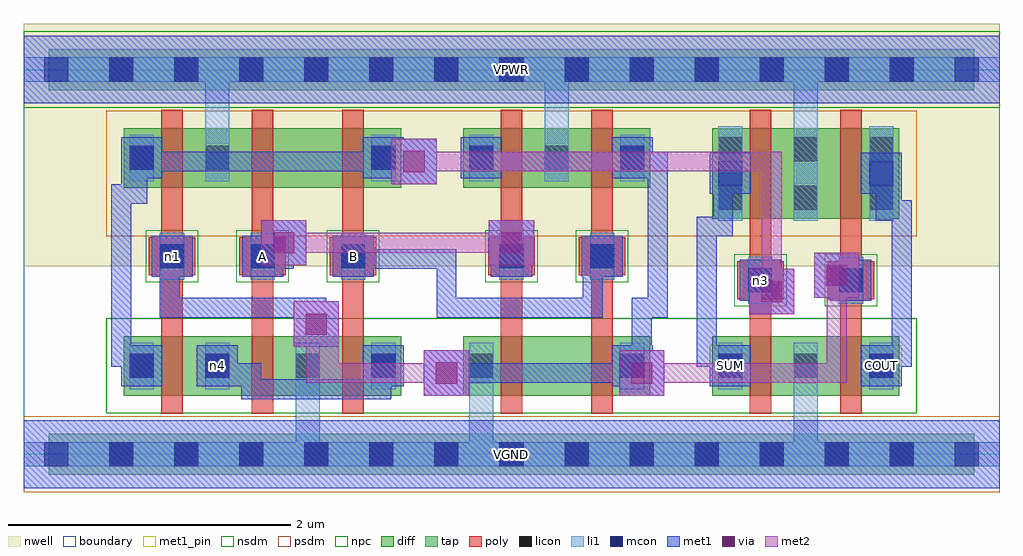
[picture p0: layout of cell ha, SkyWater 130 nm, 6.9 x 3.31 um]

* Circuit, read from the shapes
.subckt ha A B COUT SUM VGND VPWR n1 n3 n4
XM1 n4 n1 n3 VGND sky130_fd_pr__nfet_01v8 w=0.42 l=0.15
XM2 VGND A n4 VGND sky130_fd_pr__nfet_01v8 w=0.42 l=0.15
XM3 n4 B VGND VGND sky130_fd_pr__nfet_01v8 w=0.42 l=0.15
XM4 n2 A VGND VGND sky130_fd_pr__nfet_01v8 w=0.42 l=0.15
XM5 n1 B n2 VGND sky130_fd_pr__nfet_01v8 w=0.42 l=0.15
XM6 VGND n3 SUM VGND sky130_fd_pr__nfet_01v8 w=0.42 l=0.15
XM7 COUT n1 VGND VGND sky130_fd_pr__nfet_01v8 w=0.42 l=0.15
XM8 VPWR n1 n3 VPWR sky130_fd_pr__pfet_01v8 w=0.42 l=0.15
XM9 n5 A VPWR VPWR sky130_fd_pr__pfet_01v8 w=0.42 l=0.15
XM10 n3 B n5 VPWR sky130_fd_pr__pfet_01v8 w=0.42 l=0.15
XM11 VPWR A n1 VPWR sky130_fd_pr__pfet_01v8 w=0.42 l=0.15
XM12 n1 B VPWR VPWR sky130_fd_pr__pfet_01v8 w=0.42 l=0.15
XM13 VPWR n3 SUM VPWR sky130_fd_pr__pfet_01v8 w=0.64 l=0.15
XM14 COUT n1 VPWR VPWR sky130_fd_pr__pfet_01v8 w=0.64 l=0.15
.ends

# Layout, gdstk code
import gdstk
lib = gdstk.Library(unit=1e-6, precision=1e-09)
def R(c, l, rs):  # rectangles x0, y0, x1, y1
    for r in rs: c.add(gdstk.rectangle(r[:2], r[2:], *l))
def A(c, l, x, y, w, h, nx, ny, dx, dy):  # array of equal rectangles
    R(c, l, [(x+i*dx, y+j*dy, x+i*dx+w, y+j*dy+h) for i in range(nx) for j in range(ny)])
nwell = (64, 20)
diff = (65, 20)
tap = (65, 44)
poly = (66, 20)
licon = (66, 44)
li1 = (67, 20)
mcon = (67, 44)
met1_pin = (68, 16)
met1 = (68, 20)
via = (68, 44)
met2 = (69, 20)
nsdm = (93, 44)
psdm = (94, 20)
npc = (95, 20)
boundary = (235, 4)

c_ha = lib.new_cell('ha')
R(c_ha, nwell, [(0,1.33,6.9,3.045)])
R(c_ha, diff, [(0.71,0.415,2.67,0.835), (3.11,0.415,4.43,0.835), (4.87,0.415,6.19,0.835), (4.87,1.665,6.19,2.305), (0.71,1.885,2.67,2.305), (3.11,1.885,4.43,2.305)])
R(c_ha, tap, [(0.18,-0.145,6.72,0.145), (0.18,2.575,6.72,2.865)])
A(c_ha, poly, 0.975, 0.285, 0.15, 2.15, 3, 1, 0.64, 0)
A(c_ha, poly, 0.885, 1.265, 0.33, 0.27, 3, 1, 0.64, 0)
R(c_ha, poly, [(3.375,0.285,3.525,2.435), (4.015,0.285,4.165,2.435), (5.135,0.285,5.285,2.435), (5.775,0.285,5.925,2.435), (5.045,1.095,5.375,1.365), (5.685,1.095,6.015,1.365), (3.285,1.265,3.615,1.535), (3.925,1.265,4.255,1.535)])
A(c_ha, licon, 0.605, -0.085, 0.17, 0.17, 13, 2, 0.46, 2.72)
A(c_ha, licon, 4.91, 0.54, 0.17, 0.17, 3, 2, 0.535, 1.19)
A(c_ha, licon, 0.965, 1.315, 0.17, 0.17, 3, 1, 0.64, 0)
A(c_ha, licon, 3.15, 2.01, 0.17, 0.17, 3, 1, 0.535, 0)
A(c_ha, licon, 4.91, 2.07, 0.17, 0.17, 3, 1, 0.535, 0)
R(c_ha, licon, [(0.75,0.54,0.92,0.71), (1.285,0.54,1.455,0.71), (1.925,0.54,2.095,0.71), (2.46,0.54,2.63,0.71), (3.15,0.54,3.32,0.71), (4.22,0.54,4.39,0.71), (5.125,1.145,5.295,1.315), (5.765,1.145,5.935,1.315), (3.365,1.315,3.535,1.485), (4.005,1.315,4.175,1.485), (0.75,2.01,0.92,2.18), (1.285,2.01,1.455,2.18), (2.46,2.01,2.63,2.18)])
A(c_ha, li1, 4.91, 0.46, 0.17, 0.33, 3, 1, 0.535, 0)
A(c_ha, li1, 0.965, 1.235, 0.17, 0.33, 3, 1, 0.64, 0)
A(c_ha, li1, 4.91, 1.65, 0.17, 0.67, 3, 1, 0.535, 0)
A(c_ha, li1, 3.15, 1.93, 0.17, 0.33, 3, 1, 0.535, 0)
R(c_ha, li1, [(0,-0.085,6.9,0.085), (1.925,-0.085,2.095,0.79), (3.15,-0.085,3.32,0.79), (5.445,-0.085,5.615,0.79), (0.75,0.46,0.92,0.79), (1.285,0.46,1.455,0.79), (1.925,0.46,2.095,0.79), (2.46,0.46,2.63,0.79), (3.15,0.46,3.32,0.79), (4.22,0.46,4.39,0.79), (5.125,1.065,5.295,1.395), (5.765,1.065,5.935,1.395), (3.365,1.235,3.535,1.565), (4.005,1.235,4.175,1.565), (5.445,1.65,5.615,2.805), (0.75,1.93,0.92,2.26), (1.285,1.93,1.455,2.26), (1.285,1.93,1.455,2.805), (2.46,1.93,2.63,2.26), (3.685,1.93,3.855,2.805), (0,2.635,6.9,2.805)])
A(c_ha, mcon, 0.145, -0.085, 0.17, 0.17, 15, 2, 0.46, 2.72)
A(c_ha, mcon, 0.965, 1.315, 0.17, 0.17, 3, 1, 0.64, 0)
R(c_ha, mcon, [(0.75,0.54,0.92,0.71), (1.285,0.54,1.455,0.71), (2.46,0.54,2.63,0.71), (4.22,0.54,4.39,0.71), (4.91,0.54,5.08,0.71), (5.98,0.54,6.15,0.71), (5.125,1.145,5.295,1.315), (5.765,1.145,5.935,1.315), (3.365,1.315,3.535,1.485), (4.005,1.315,4.175,1.485), (4.91,1.9,5.08,2.07), (5.98,1.9,6.15,2.07), (0.75,2.01,0.92,2.18), (2.46,2.01,2.63,2.18), (3.15,2.01,3.32,2.18), (4.22,2.01,4.39,2.18)])
R(c_ha, met1_pin, [(0,-0.24,6.9,0.24), (4.85,0.48,5.14,0.77), (5.92,0.48,6.21,0.77), (1.545,1.255,1.835,1.545), (2.185,1.255,2.475,1.545), (0,2.48,6.9,2.96)])
A(c_ha, met1, 0.905, 1.255, 0.29, 0.29, 3, 1, 0.64, 0)
R(c_ha, met1, [(0,-0.24,6.9,0.24), (1.54,0.39,1.68,0.645), (1.54,0.39,2.6,0.53), (2.46,0.39,2.6,0.645), (2.83,0.415,3.15,0.735), (4.21,0.415,4.53,0.735), (0.69,0.48,0.98,0.77), (1.225,0.48,1.515,0.77), (1.515,0.48,1.54,0.645), (1.515,0.48,1.54,0.53), (2.4,0.48,2.69,0.77), (4.16,0.48,4.45,0.77), (4.85,0.48,5.14,0.77), (5.92,0.48,6.21,0.77), (1.31,0.505,1.45,0.645), (1.31,0.505,1.68,0.645), (2.46,0.505,2.6,0.645), (2.92,0.505,4.325,0.645), (4.185,0.505,4.325,0.645), (4.185,0.505,4.44,0.645), (4.185,0.505,4.325,0.76), (0.62,0.62,0.875,0.76), (0.62,0.62,0.76,1.91), (0.735,0.62,0.875,0.76), (4.185,0.62,4.44,0.76), (4.3,0.62,4.44,1.105), (4.76,0.62,5.015,0.76), (4.76,0.62,4.9,1.68), (4.875,0.62,5.015,0.76), (6.025,0.62,6.165,0.76), (6.025,0.62,6.28,0.76), (6.14,0.62,6.28,1.795), (1.91,0.76,2.23,1.08), (2,0.85,2.14,1.105), (0.965,0.965,1.105,1.45), (0.965,0.965,2.14,1.105), (2.92,0.965,3.06,1.45), (2.92,0.965,4.095,1.105), (3.955,0.965,4.095,1.45), (4.3,0.965,4.555,1.105), (4.415,0.965,4.555,2.14), (5.13,0.99,5.45,1.31), (5.22,1.08,5.36,1.335), (5.065,1.085,5.355,1.375), (5.705,1.085,5.995,1.375), (5.59,1.105,5.91,1.425), (5.105,1.195,5.245,1.335), (5.105,1.195,5.36,1.335), (5.68,1.195,5.935,1.335), (5.795,1.195,5.935,1.335), (3.305,1.255,3.595,1.545), (3.945,1.255,4.235,1.545), (0.965,1.31,1.105,1.45), (1.655,1.31,1.795,1.45), (1.655,1.31,1.91,1.45), (1.77,1.31,1.91,1.565), (2.23,1.31,2.37,1.45), (2.23,1.31,3.06,1.45), (3.38,1.31,3.52,1.45), (3.38,1.31,3.52,1.565), (3.955,1.31,4.095,1.45), (1.68,1.335,2,1.655), (3.29,1.335,3.61,1.655), (4.76,1.54,5.015,1.68), (4.875,1.54,5.015,2.025), (6.025,1.655,6.28,1.795), (6.025,1.655,6.165,2.025), (0.62,1.77,0.875,1.91), (0.735,1.77,0.875,2.14), (6.025,1.795,6.21,1.84), (6.14,1.795,6.21,1.84), (4.85,1.84,5.14,2.13), (5.92,1.84,6.21,2.13), (4.875,1.885,5.015,2.025), (6.025,1.885,6.165,2.025), (0.69,1.91,0.875,1.95), (0.69,1.91,0.76,1.95), (2.6,1.91,2.92,2.23), (0.69,1.95,0.98,2.24), (2.4,1.95,2.69,2.24), (3.09,1.95,3.38,2.24), (4.16,1.95,4.45,2.24), (0.735,2,0.875,2.14), (0.735,2,2.6,2.14), (2.46,2,2.6,2.14), (2.46,2,2.83,2.14), (3.15,2,3.29,2.14), (3.15,2,4.44,2.14), (4.3,2,4.44,2.14), (4.3,2,4.555,2.14), (0,2.48,6.9,2.96)])
R(c_ha, via, [(2.915,0.5,3.065,0.65), (4.295,0.5,4.445,0.65), (1.995,0.845,2.145,0.995), (5.215,1.075,5.365,1.225), (5.675,1.19,5.825,1.34), (1.765,1.42,1.915,1.57), (3.375,1.42,3.525,1.57), (2.685,1.995,2.835,2.145)])
R(c_ha, met2, [(2.83,0.415,3.15,0.735), (4.21,0.415,4.53,0.735), (2,0.505,2.14,0.99), (2,0.505,3.06,0.645), (4.3,0.505,5.82,0.645), (5.68,0.505,5.82,1.335), (2,0.645,2.23,0.76), (1.91,0.76,2.23,1.08), (5.13,0.99,5.45,1.31), (5.22,1.08,5.36,2.14), (5.59,1.105,5.91,1.425), (1.68,1.335,2,1.655), (3.29,1.335,3.61,1.655), (1.77,1.425,3.52,1.565), (2.6,1.91,2.92,2.23), (2.69,2,5.36,2.14)])
R(c_ha, nsdm, [(0.585,0.29,6.315,0.96), (0,2.45,6.9,2.99)])
R(c_ha, psdm, [(0,-0.27,6.9,0.27), (0.585,1.54,6.315,2.43)])
A(c_ha, npc, 0.865, 1.215, 0.37, 0.37, 3, 1, 0.64, 0)
R(c_ha, npc, [(5.025,1.045,5.395,1.415), (5.665,1.045,6.035,1.415), (3.265,1.215,3.635,1.585), (3.905,1.215,4.275,1.585)])
R(c_ha, boundary, [(0,0,6.9,2.72)])
c_ha.add(gdstk.Label('n1', (1.05,1.4), layer=67, texttype=5))
c_ha.add(gdstk.Label('n3', (5.21,1.23), layer=67, texttype=5))
c_ha.add(gdstk.Label('n4', (1.37,0.625), layer=67, texttype=5))
c_ha.add(gdstk.Label('A', (1.69,1.4), layer=68, texttype=5))
c_ha.add(gdstk.Label('B', (2.33,1.4), layer=68, texttype=5))
c_ha.add(gdstk.Label('SUM', (4.995,0.625), layer=68, texttype=5))
c_ha.add(gdstk.Label('COUT', (6.065,0.625), layer=68, texttype=5))
c_ha.add(gdstk.Label('VPWR', (3.45,2.72), layer=68, texttype=5))
c_ha.add(gdstk.Label('VGND', (3.45,0), layer=68, texttype=5))
c_ha.add(gdstk.Label('A', (1.69,1.4), layer=68, texttype=16))
c_ha.add(gdstk.Label('B', (2.33,1.4), layer=68, texttype=16))
c_ha.add(gdstk.Label('SUM', (4.995,0.625), layer=68, texttype=16))
c_ha.add(gdstk.Label('COUT', (6.065,0.625), layer=68, texttype=16))
c_ha.add(gdstk.Label('VPWR', (3.45,2.72), layer=68, texttype=16))
c_ha.add(gdstk.Label('VGND', (3.45,0), layer=68, texttype=16))

lib.write_gds('ha.gds')
